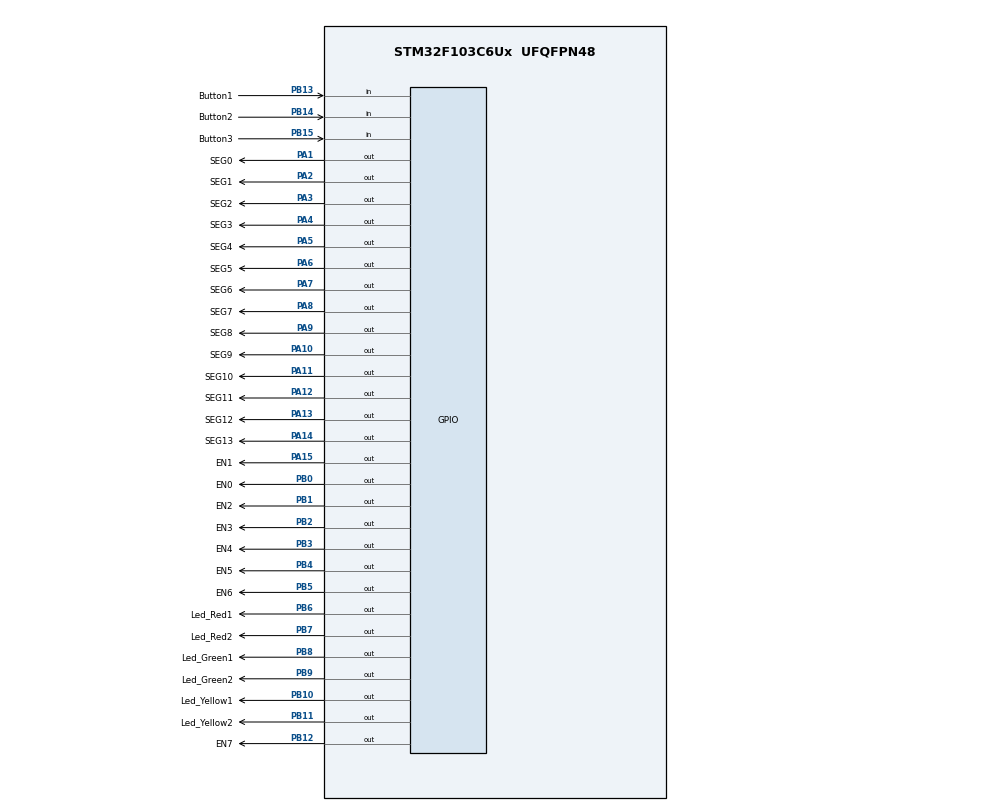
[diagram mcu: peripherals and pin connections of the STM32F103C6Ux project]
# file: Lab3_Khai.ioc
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Mcu.Family=STM32F1
Mcu.Name=STM32F103C6Ux
Mcu.Package=UFQFPN48
NVIC.PriorityGroup=NVIC_PRIORITYGROUP_4
NVIC.TIM2_IRQn=true\:0\:0\:false\:false\:true\:true\:true\:true
PA1.GPIO_Label=SEG0
PA1.Signal=GPIO_Output
PA10.GPIO_Label=SEG9
PA10.Signal=GPIO_Output
PA11.GPIO_Label=SEG10
PA11.Signal=GPIO_Output
PA12.GPIO_Label=SEG11
PA12.Signal=GPIO_Output
PA13.GPIO_Label=SEG12
PA13.Signal=GPIO_Output
PA14.GPIO_Label=SEG13
PA14.Signal=GPIO_Output
PA15.GPIO_Label=EN1
PA15.Signal=GPIO_Output
PA2.GPIO_Label=SEG1
PA2.Signal=GPIO_Output
PA3.GPIO_Label=SEG2
PA3.Signal=GPIO_Output
PA4.GPIO_Label=SEG3
PA4.Signal=GPIO_Output
PA5.GPIO_Label=SEG4
PA5.Signal=GPIO_Output
PA6.GPIO_Label=SEG5
PA6.Signal=GPIO_Output
PA7.GPIO_Label=SEG6
PA7.Signal=GPIO_Output
PA8.GPIO_Label=SEG7
PA8.Signal=GPIO_Output
PA9.GPIO_Label=SEG8
PA9.Signal=GPIO_Output
PB0.GPIO_Label=EN0
PB0.Signal=GPIO_Output
PB1.GPIO_Label=EN2
PB1.Signal=GPIO_Output
PB10.GPIO_Label=Led_Yellow1
PB10.Signal=GPIO_Output
PB11.GPIO_Label=Led_Yellow2
PB11.Signal=GPIO_Output
PB12.GPIO_Label=EN7
PB12.Signal=GPIO_Output
PB13.GPIO_Label=Button1
PB13.GPIO_PuPd=GPIO_PULLUP
PB13.Signal=GPIO_Input
PB14.GPIO_Label=Button2
PB14.GPIO_PuPd=GPIO_PULLUP
PB14.Signal=GPIO_Input
PB15.GPIO_Label=Button3
PB15.GPIO_PuPd=GPIO_PULLUP
PB15.Signal=GPIO_Input
PB2.GPIO_Label=EN3
PB2.Signal=GPIO_Output
PB3.GPIO_Label=EN4
PB3.Signal=GPIO_Output
PB4.GPIO_Label=EN5
PB4.Signal=GPIO_Output
PB5.GPIO_Label=EN6
PB5.Signal=GPIO_Output
PB6.GPIO_Label=Led_Red1
PB6.Signal=GPIO_Output
PB7.GPIO_Label=Led_Red2
PB7.Signal=GPIO_Output
PB8.GPIO_Label=Led_Green1
PB8.Signal=GPIO_Output
PB9.GPIO_Label=Led_Green2
PB9.Signal=GPIO_Output
ProjectManager.HeapSize=0x200
ProjectManager.StackSize=0x400
ProjectManager.TargetToolchain=STM32CubeIDE
RCC.APB1Freq_Value=8000000
RCC.APB2Freq_Value=8000000
TIM2.Period=9 
TIM2.Prescaler=7999
VP_SYS_VS_ND.Mode=No_Debug
VP_TIM2_VS_ClockSourceINT.Mode=Internal
board=custom

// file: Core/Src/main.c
/* USER CODE BEGIN Header */
/**
  ******************************************************************************
  * @file           : main.c
  * @brief          : Main program body
  ******************************************************************************
  * @attention
  *
  * <h2><center>&copy; Copyright (c) 2022 STMicroelectronics.
  * All rights reserved.</center></h2>
  *
  * This software component is licensed by ST under BSD 3-Clause license,
  * the "License"; You may not use this file except in compliance with the
  * License. You may obtain a copy of the License at:
  *                        opensource.org/licenses/BSD-3-Clause
  *
  ******************************************************************************
  */
/* USER CODE END Header */
#include "main.h"

/* USER CODE BEGIN Includes */

#include "software_timer.h"
#include "fsm.h"
#include "button.h"
#include "global.h"
#include "check.h"

/* USER CODE END Includes */

TIM_HandleTypeDef htim2;

void SystemClock_Config(void);
static void MX_GPIO_Init(void);
static void MX_TIM2_Init(void);

int main(void)
{

  /* MCU Configuration--------------------------------------------------------*/

  /* Reset of all peripherals, Initializes the Flash interface and the Systick. */
  HAL_Init();

  /* Configure the system clock */
  SystemClock_Config();

  /* Initialize all configured peripherals */
  MX_GPIO_Init();
  MX_TIM2_Init();
  /* USER CODE BEGIN 2 */
  HAL_TIM_Base_Start_IT (& htim2 );
  /* USER CODE END 2 */

  /* Infinite loop */
  /* USER CODE BEGIN WHILE */
  mode = INIT;
  status1 = INIT1;
  status2 = INIT2;
  setTimer3(2000);
  setTimer4(250);
  EN = 0;
  while (1)
  {
    /* USER CODE END WHILE */

    /* USER CODE BEGIN 3 */
	  //fsm_auto_run();
	  checkMode();
  }
  /* USER CODE END 3 */
}

void SystemClock_Config(void)
{
  RCC_OscInitTypeDef RCC_OscInitStruct = {0};
  RCC_ClkInitTypeDef RCC_ClkInitStruct = {0};

  /** Initializes the RCC Oscillators according to the specified parameters
  * in the RCC_OscInitTypeDef structure.
  */
  RCC_OscInitStruct.OscillatorType = RCC_OSCILLATORTYPE_HSI;
  RCC_OscInitStruct.HSIState = RCC_HSI_ON;
  RCC_OscInitStruct.HSICalibrationValue = RCC_HSICALIBRATION_DEFAULT;
  RCC_OscInitStruct.PLL.PLLState = RCC_PLL_NONE;
  if (HAL_RCC_OscConfig(&RCC_OscInitStruct) != HAL_OK)
  {
    Error_Handler();
  }
  /** Initializes the CPU, AHB and APB buses clocks
  */
  RCC_ClkInitStruct.ClockType = RCC_CLOCKTYPE_HCLK|RCC_CLOCKTYPE_SYSCLK
                              |RCC_CLOCKTYPE_PCLK1|RCC_CLOCKTYPE_PCLK2;
  RCC_ClkInitStruct.SYSCLKSource = RCC_SYSCLKSOURCE_HSI;
  RCC_ClkInitStruct.AHBCLKDivider = RCC_SYSCLK_DIV1;
  RCC_ClkInitStruct.APB1CLKDivider = RCC_HCLK_DIV1;
  RCC_ClkInitStruct.APB2CLKDivider = RCC_HCLK_DIV1;

  if (HAL_RCC_ClockConfig(&RCC_ClkInitStruct, FLASH_LATENCY_0) != HAL_OK)
  {
    Error_Handler();
  }
}

static void MX_TIM2_Init(void)
{

  TIM_ClockConfigTypeDef sClockSourceConfig = {0};
  TIM_MasterConfigTypeDef sMasterConfig = {0};

  htim2.Instance = TIM2;
  htim2.Init.Prescaler = 7999;
  htim2.Init.CounterMode = TIM_COUNTERMODE_UP;
  htim2.Init.Period = 9 ;
  htim2.Init.ClockDivision = TIM_CLOCKDIVISION_DIV1;
  htim2.Init.AutoReloadPreload = TIM_AUTORELOAD_PRELOAD_DISABLE;
  if (HAL_TIM_Base_Init(&htim2) != HAL_OK)
  {
    Error_Handler();
  }
  sClockSourceConfig.ClockSource = TIM_CLOCKSOURCE_INTERNAL;
  if (HAL_TIM_ConfigClockSource(&htim2, &sClockSourceConfig) != HAL_OK)
  {
    Error_Handler();
  }
  sMasterConfig.MasterOutputTrigger = TIM_TRGO_RESET;
  sMasterConfig.MasterSlaveMode = TIM_MASTERSLAVEMODE_DISABLE;
  if (HAL_TIMEx_MasterConfigSynchronization(&htim2, &sMasterConfig) != HAL_OK)
  {
    Error_Handler();
  }

}

static void MX_GPIO_Init(void)
{
  GPIO_InitTypeDef GPIO_InitStruct = {0};

  /* GPIO Ports Clock Enable */
  __HAL_RCC_GPIOA_CLK_ENABLE();
  __HAL_RCC_GPIOB_CLK_ENABLE();

  /*Configure GPIO pin Output Level */
  HAL_GPIO_WritePin(GPIOA, SEG0_Pin|SEG1_Pin|SEG2_Pin|SEG3_Pin
                          |SEG4_Pin|SEG5_Pin|SEG6_Pin|SEG7_Pin
                          |SEG8_Pin|SEG9_Pin|SEG10_Pin|SEG11_Pin
                          |SEG12_Pin|SEG13_Pin|EN1_Pin, GPIO_PIN_RESET);

  /*Configure GPIO pin Output Level */
  HAL_GPIO_WritePin(GPIOB, EN0_Pin|EN2_Pin|EN3_Pin|Led_Yellow1_Pin
                          |Led_Yellow2_Pin|EN7_Pin|EN4_Pin|EN5_Pin
                          |EN6_Pin|Led_Red1_Pin|Led_Red2_Pin|Led_Green1_Pin
                          |Led_Green2_Pin, GPIO_PIN_RESET);

  /*Configure GPIO pins : SEG0_Pin SEG1_Pin SEG2_Pin SEG3_Pin
                           SEG4_Pin SEG5_Pin SEG6_Pin SEG7_Pin
                           SEG8_Pin SEG9_Pin SEG10_Pin SEG11_Pin
                           SEG12_Pin SEG13_Pin EN1_Pin */
  GPIO_InitStruct.Pin = SEG0_Pin|SEG1_Pin|SEG2_Pin|SEG3_Pin
                          |SEG4_Pin|SEG5_Pin|SEG6_Pin|SEG7_Pin
                          |SEG8_Pin|SEG9_Pin|SEG10_Pin|SEG11_Pin
                          |SEG12_Pin|SEG13_Pin|EN1_Pin;
  GPIO_InitStruct.Mode = GPIO_MODE_OUTPUT_PP;
  GPIO_InitStruct.Pull = GPIO_NOPULL;
  GPIO_InitStruct.Speed = GPIO_SPEED_FREQ_LOW;
  HAL_GPIO_Init(GPIOA, &GPIO_InitStruct);

  /*Configure GPIO pins : EN0_Pin EN2_Pin EN3_Pin Led_Yellow1_Pin
                           Led_Yellow2_Pin EN7_Pin EN4_Pin EN5_Pin
                           EN6_Pin Led_Red1_Pin Led_Red2_Pin Led_Green1_Pin
                           Led_Green2_Pin */
  GPIO_InitStruct.Pin = EN0_Pin|EN2_Pin|EN3_Pin|Led_Yellow1_Pin
                          |Led_Yellow2_Pin|EN7_Pin|EN4_Pin|EN5_Pin
                          |EN6_Pin|Led_Red1_Pin|Led_Red2_Pin|Led_Green1_Pin
                          |Led_Green2_Pin;
  GPIO_InitStruct.Mode = GPIO_MODE_OUTPUT_PP;
  GPIO_InitStruct.Pull = GPIO_NOPULL;
  GPIO_InitStruct.Speed = GPIO_SPEED_FREQ_LOW;
  HAL_GPIO_Init(GPIOB, &GPIO_InitStruct);

  /*Configure GPIO pins : Button1_Pin Button2_Pin Button3_Pin */
  GPIO_InitStruct.Pin = Button1_Pin|Button2_Pin|Button3_Pin;
  GPIO_InitStruct.Mode = GPIO_MODE_INPUT;
  GPIO_InitStruct.Pull = GPIO_PULLUP;
  HAL_GPIO_Init(GPIOB, &GPIO_InitStruct);

}

/* USER CODE BEGIN 4 */
void HAL_TIM_PeriodElapsedCallback( TIM_HandleTypeDef * htim ){
	 timerRun();
	 getKeyInput();
}

/* USER CODE END 4 */

void Error_Handler(void)
{
  __disable_irq();
  while (1)
  {
  }
}

/************************ (C) COPYRIGHT STMicroelectronics *****END OF FILE****/
